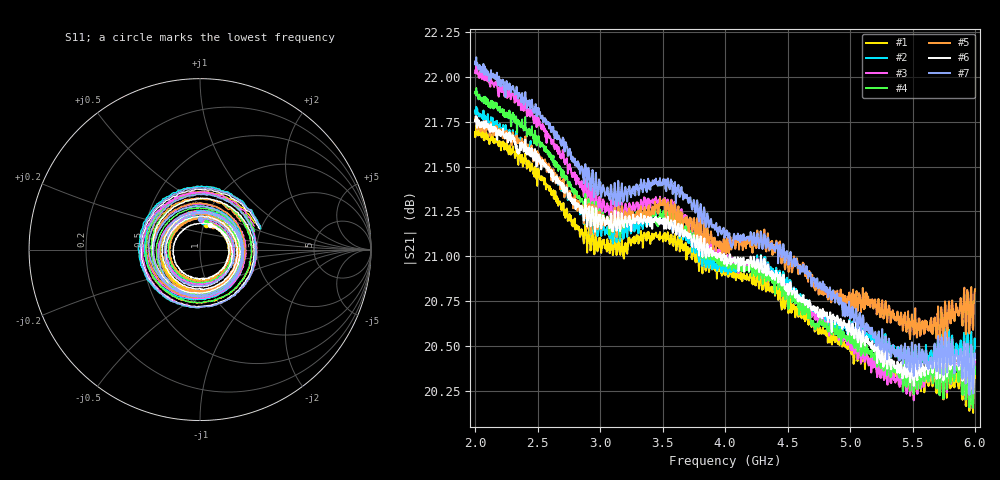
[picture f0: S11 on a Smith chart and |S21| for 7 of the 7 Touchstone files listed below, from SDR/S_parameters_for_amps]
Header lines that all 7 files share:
#  HZ  S  DB  R  50.00
! Rohde & Schwarz ZVA24 4Ports - Version 3.60 - 1145.1110k28 SN: 101513
! Measurements: S33 S43 S34 S44
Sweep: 2 GHz to 6 GHz
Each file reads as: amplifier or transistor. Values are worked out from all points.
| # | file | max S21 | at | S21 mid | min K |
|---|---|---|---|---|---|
| 1 | amplifier1.s2p | 21.7 dB | 2.01 GHz | 20.9 dB at 4 GHz | 1.10 |
| 2 | amplifier2.s2p | 21.8 dB | 2.01 GHz | 20.9 dB at 4 GHz | 1.08 |
| 3 | amplifier3.s2p | 22.1 dB | 2.01 GHz | 21.0 dB at 4 GHz | 1.10 |
| 4 | amplifier4.s2p | 21.9 dB | 2.01 GHz | 21.0 dB at 4 GHz | 1.11 |
| 5 | amplifier5.s2p | 21.8 dB | 2.005 GHz | 21.0 dB at 4 GHz | 1.10 |
| 6 | amplifier6.s2p | 21.8 dB | 2.01 GHz | 21.0 dB at 4 GHz | 1.10 |
| 7 | amplifier7.s2p | 22.1 dB | 2.01 GHz | 21.1 dB at 4 GHz | 1.08 |
